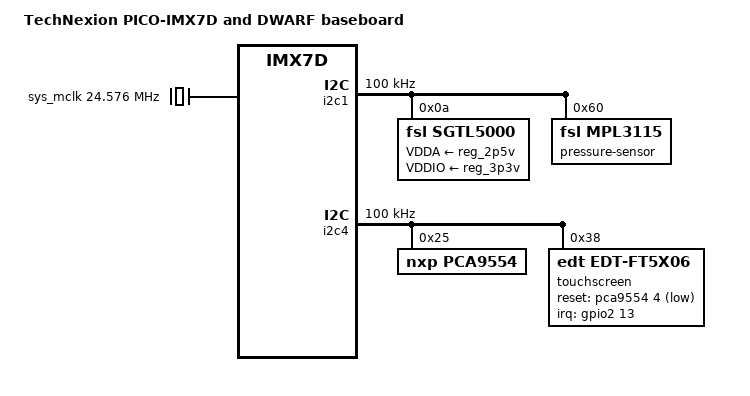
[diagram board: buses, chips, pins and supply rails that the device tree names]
// SPDX-License-Identifier: (GPL-2.0 OR MIT)
//
// Copyright 2015 Technexion Ltd.
//
// Author: Wig Cheng  <wig.cheng@technexion.com>
//	   Richard Hu <richard.hu@technexion.com>
//	   Tapani Utriainen <tapani@technexion.com>
/dts-v1/;

#include "imx7d-pico.dtsi"
/ {
	model = "TechNexion PICO-IMX7D and DWARF baseboard";
	compatible = "technexion,imx7d-pico-dwarf", "fsl,imx7d";

	sound {
		compatible = "fsl,imx-audio-sgtl5000";
		model = "imx7d-sgtl5000";
		audio-cpu = <&sai1>;
		audio-codec = <&sgtl5000>;
		audio-routing =
			"LINE_IN", "Line In Jack",
			"MIC_IN", "Mic Jack",
			"Mic Jack", "Mic Bias",
			"Headphone Jack", "HP_OUT";
	};

	sys_mclk: clock-sys-mclk {
		compatible = "fixed-clock";
		#clock-cells = <0>;
		clock-frequency = <24576000>;
	};
};

&i2c1 {
	clock-frequency = <100000>;
	pinctrl-names = "default";
	pinctrl-0 = <&pinctrl_i2c1>;
	status = "okay";

	sgtl5000: audio-codec@a {
		reg = <0x0a>;
		compatible = "fsl,sgtl5000";
		#sound-dai-cells = <0>;
		clocks = <&sys_mclk>;
		VDDA-supply = <&reg_2p5v>;
		VDDIO-supply = <&reg_3p3v>;
	};

	pressure-sensor@60 {
		compatible = "fsl,mpl3115";
		reg = <0x60>;
	};
};

&i2c4 {
	clock-frequency = <100000>;
	pinctrl-names = "default";
	pinctrl-0 = <&pinctrl_i2c1>;
	status = "okay";

	pca9554: io-expander@25 {
		compatible = "nxp,pca9554";
		gpio-controller;
		#gpio-cells = <2>;
		#interrupt-cells = <2>;
		reg = <0x25>;
	};

	touchscreen@38 {
		compatible = "edt,edt-ft5x06";
		reg = <0x38>;
		pinctrl-names = "default";
		pinctrl-0 = <&pinctrl_touchscreen>;
		interrupt-parent = <&gpio2>;
		interrupts = <13 IRQ_TYPE_EDGE_FALLING>;
		reset-gpios = <&pca9554 4 GPIO_ACTIVE_LOW>;
		touchscreen-size-x = <800>;
		touchscreen-size-y = <480>;
	};
};

&iomuxc {
	pinctrl_touchscreen: touchscreengrp {
		fsl,pins = <
			MX7D_PAD_EPDC_DATA13__GPIO2_IO13	0x14
		>;
	};
};
